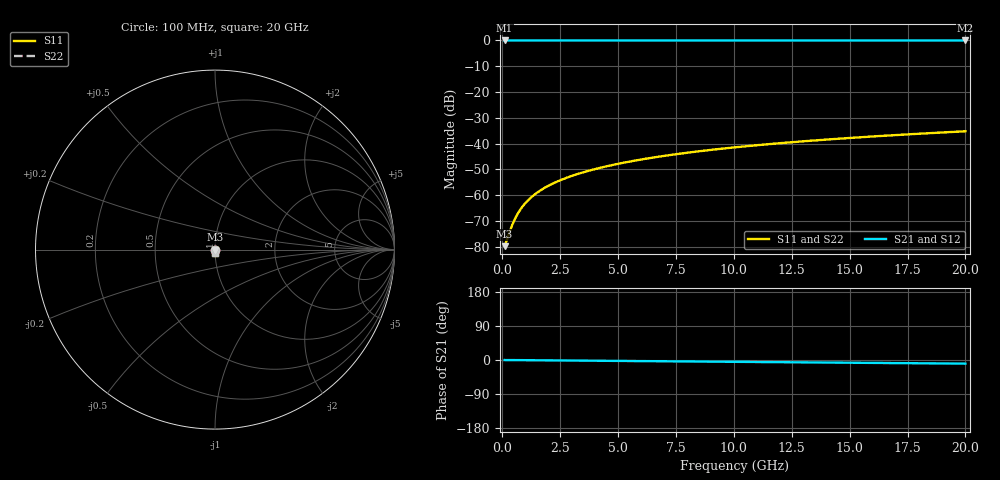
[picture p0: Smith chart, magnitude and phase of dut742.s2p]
! Touchstone file exported from HFSS 2026.1.0
!  File:  C:/ffzhzh/LocalFiles/Ansys_Project_Files/temp_train_TSV_742_1783182813_18472.aedt
!  Generated:  12:35:03 AM Jul  5, 2026
!  Design:  TSV
!  Project:  temp_train_TSV_742_1783182813_18472
! Variables:
!  h_bsmrdl = 2um
!  h_ox = 20um
!  h_rdl = 5um
!  h_sub = 97.47um
!  h_tmrdl = 5um
!  h_tsv = 97.47um
!  h_via = 3um
!  l_bsmrdl = 300um
!  l_sub = 427.12um
!  l_tmrdl = 200um
!  m_sub = 200um
!  pitch = 49.14um
!  r_tsv = 13.56um
!  s_tmrdl = 10um
!  w_bsmrdl = 18um
!  w_sub = 500um
!  w_tmrdl = 12um
!  x_tsv_center1 = 206um
!  x_tsv_center2 = 524um
!  x_tsv_center3 = 736um
!  x_tsv_center4 = 1054um
!  x_tsv_center5 = 1266um
!  x_tsv_center6 = 1584um
# GHz S MA R 50.000000
! Terminal data exported
! Port[1] = TSV1_1_T1
! Port[2] = TSV1_1_T2
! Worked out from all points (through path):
!   200 points, 100 MHz to 20 GHz, reference 50 ohm
!   highest |S21| = 0.00 dB at 100 MHz (marker M1); lowest = 0.0 dB at 20 GHz (marker M2)
!   group delay of S21, straight-line fit = 1.33 ps
!   lowest |S11| = -79.8 dB at 100 MHz (marker M3), VSWR 1.00, Z = 50 - j0.00366 ohm
!   |S11| at or under -10 dB: start of sweep to end of sweep
!   |S22| runs from -79.8 to -35.2 dB; largest |S21 - S12| = 2e-15
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0.1  0.000102 -21.0  0.9999 -0.1  0.9999 -0.1  0.000102 -21.0
! Gamma 0 0 0 0
! Port Impedance 50 0 50 0
0.4  0.0002444 -48.5  0.9998 -0.2  0.9998 -0.2  0.0002444 -48.5
0.5  0.000312 -52.6  0.9998 -0.2  0.9998 -0.2  0.000312 -52.6
0.6  0.0003849 -55.9  0.9998 -0.3  0.9998 -0.3  0.0003849 -55.9
0.7  0.0004615 -58.7  0.9998 -0.3  0.9998 -0.3  0.0004615 -58.7
0.9  0.0006208 -63.2  0.9997 -0.4  0.9997 -0.4  0.0006208 -63.2
1  0.000702 -65.1  0.9997 -0.5  0.9997 -0.5  0.000702 -65.1
1.2  0.0008658 -68.2  0.9997 -0.6  0.9997 -0.6  0.0008658 -68.2
1.4  0.00103 -70.6  0.9996 -0.7  0.9996 -0.7  0.00103 -70.6
1.6  0.001195 -72.5  0.9996 -0.8  0.9996 -0.8  0.001195 -72.6
2.1  0.001606 -76.0  0.9996 -1.0  0.9996 -1.0  0.001606 -76.0
2.7  0.002102 -78.7  0.9995 -1.3  0.9995 -1.3  0.002102 -78.7
3.5  0.002769 -80.9  0.9995 -1.7  0.9995 -1.7  0.002769 -80.9
4.2  0.003359 -82.3  0.9994 -2.0  0.9994 -2.0  0.003359 -82.3
5  0.004041 -83.6  0.9994 -2.4  0.9994 -2.4  0.004041 -83.6
5.9  0.004816 -84.8  0.9993 -2.8  0.9993 -2.8  0.004816 -84.8
6.8  0.005597 -85.8  0.9993 -3.3  0.9993 -3.3  0.005597 -85.8
8.3  0.006908 -87.3  0.9992 -4.0  0.9992 -4.0  0.006908 -87.3
10.1  0.008491 -88.9  0.9991 -4.8  0.9991 -4.8  0.008491 -88.9
13.4  0.01141 -91.3  0.9989 -6.4  0.9989 -6.4  0.01141 -91.3
16.7  0.01434 -93.5  0.9988 -8.0  0.9988 -8.0  0.01434 -93.5
20  0.0173 -95.4  0.9986 -9.6  0.9986 -9.6  0.0173 -95.4
